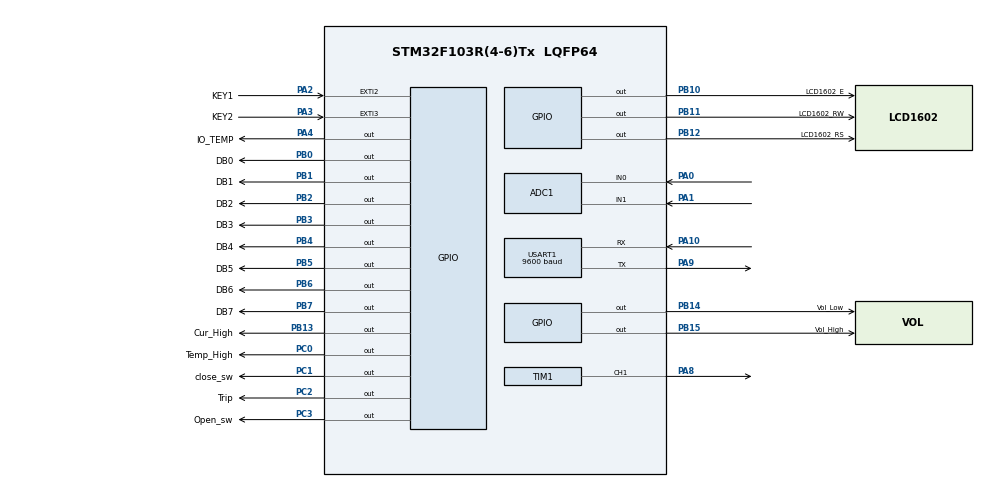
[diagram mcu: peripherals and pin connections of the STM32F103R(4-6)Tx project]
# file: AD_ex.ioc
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ADC1.Channel-4\#ChannelRegularConversion=ADC_CHANNEL_0
ADC1.Channel-5\#ChannelRegularConversion=ADC_CHANNEL_1
ADC1.ContinuousConvMode=DISABLE
ADC1.DataAlign=ADC_DATAALIGN_RIGHT
ADC1.DiscontinuousConvMode=ENABLE
ADC1.EnableAnalogWatchDog=false
ADC1.EnableRegularConversion=ENABLE
ADC1.ExternalTrigConv=ADC_SOFTWARE_START
ADC1.InjNumberOfConversion=0
ADC1.NbrOfConversion=2
ADC1.NbrOfConversionFlag=1
ADC1.NbrOfDiscConversion=1
ADC1.Rank-4\#ChannelRegularConversion=1
ADC1.Rank-5\#ChannelRegularConversion=2
ADC1.SamplingTime-4\#ChannelRegularConversion=ADC_SAMPLETIME_1CYCLE_5
ADC1.SamplingTime-5\#ChannelRegularConversion=ADC_SAMPLETIME_1CYCLE_5
ADC1.ScanConvMode=ADC_SCAN_ENABLE
ADC1.master=1
Mcu.Family=STM32F1
Mcu.Name=STM32F103R(4-6)Tx
Mcu.Package=LQFP64
NVIC.EXTI2_IRQn=true\:0\:0\:false\:false\:true
NVIC.EXTI3_IRQn=true\:0\:0\:false\:false\:true
NVIC.PriorityGroup=NVIC_PRIORITYGROUP_4
PA0-WKUP.Signal=ADCx_IN0
PA1.Signal=ADCx_IN1
PA10.Mode=Asynchronous
PA10.Signal=USART1_RX
PA2.GPIO_Label=KEY1
PA2.Signal=GPXTI2
PA3.GPIO_Label=KEY2
PA3.Signal=GPXTI3
PA4.GPIO_Label=IO_TEMP
PA4.GPIO_ModeDefaultOutputPP=GPIO_MODE_OUTPUT_PP
PA4.Signal=GPIO_Output
PA8.Signal=S_TIM1_CH1
PA9.Mode=Asynchronous
PA9.Signal=USART1_TX
PB0.GPIO_Label=DB0
PB0.GPIO_ModeDefaultOutputPP=GPIO_MODE_OUTPUT_OD
PB0.Signal=GPIO_Output
PB1.GPIO_Label=DB1
PB1.GPIO_ModeDefaultOutputPP=GPIO_MODE_OUTPUT_OD
PB1.Signal=GPIO_Output
PB10.GPIO_Label=LCD1602_E
PB10.Signal=GPIO_Output
PB11.GPIO_Label=LCD1602_RW
PB11.Signal=GPIO_Output
PB12.GPIO_Label=LCD1602_RS
PB12.Signal=GPIO_Output
PB13.GPIO_Label=Cur_High
PB13.GPIO_Speed=GPIO_SPEED_FREQ_HIGH
PB13.PinState=GPIO_PIN_SET
PB13.Signal=GPIO_Output
PB14.GPIO_Label=Vol_Low
PB14.GPIO_Speed=GPIO_SPEED_FREQ_HIGH
PB14.PinState=GPIO_PIN_SET
PB14.Signal=GPIO_Output
PB15.GPIO_Label=Vol_High
PB15.GPIO_Speed=GPIO_SPEED_FREQ_HIGH
PB15.PinState=GPIO_PIN_SET
PB15.Signal=GPIO_Output
PB2.GPIO_Label=DB2
PB2.GPIO_ModeDefaultOutputPP=GPIO_MODE_OUTPUT_OD
PB2.Signal=GPIO_Output
PB3.GPIO_Label=DB3
PB3.GPIO_ModeDefaultOutputPP=GPIO_MODE_OUTPUT_OD
PB3.Signal=GPIO_Output
PB4.GPIO_Label=DB4
PB4.GPIO_ModeDefaultOutputPP=GPIO_MODE_OUTPUT_OD
PB4.Signal=GPIO_Output
PB5.GPIO_Label=DB5
PB5.GPIO_ModeDefaultOutputPP=GPIO_MODE_OUTPUT_OD
PB5.Signal=GPIO_Output
PB6.GPIO_Label=DB6
PB6.GPIO_ModeDefaultOutputPP=GPIO_MODE_OUTPUT_OD
PB6.Signal=GPIO_Output
PB7.GPIO_Label=DB7
PB7.GPIO_ModeDefaultOutputPP=GPIO_MODE_OUTPUT_OD
PB7.Signal=GPIO_Output
PC0.GPIO_Label=Temp_High
PC0.GPIO_Speed=GPIO_SPEED_FREQ_HIGH
PC0.PinState=GPIO_PIN_SET
PC0.Signal=GPIO_Output
PC1.GPIO_Label=close_sw
PC1.GPIO_Speed=GPIO_SPEED_FREQ_HIGH
PC1.PinState=GPIO_PIN_SET
PC1.Signal=GPIO_Output
PC2.GPIO_Label=Trip
PC2.GPIO_Speed=GPIO_SPEED_FREQ_HIGH
PC2.PinState=GPIO_PIN_SET
PC2.Signal=GPIO_Output
PC3.GPIO_Label=Open_sw
PC3.GPIO_Speed=GPIO_SPEED_FREQ_HIGH
PC3.PinState=GPIO_PIN_SET
PC3.Signal=GPIO_Output
ProjectManager.HeapSize=0x200
ProjectManager.StackSize=0x400
ProjectManager.TargetToolchain=MDK-ARM V5
RCC.APB1Freq_Value=8000000
RCC.APB2Freq_Value=8000000
SH.ADCx_IN0.0=ADC1_IN0,IN0
SH.ADCx_IN1.0=ADC1_IN1,IN1
SH.S_TIM1_CH1.0=TIM1_CH1,PWM Generation1 CH1
TIM1.Period=999
TIM1.Prescaler=7
USART1.BaudRate=9600
VP_SYS_VS_ND.Mode=No_Debug
VP_TIM1_VS_ClockSourceINT.Mode=Internal
board=AD_ex

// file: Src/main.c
/**
  ******************************************************************************
  * File Name          : main.c
  * Description        : Main program body
  ******************************************************************************
  *
  * COPYRIGHT(c) 2021 STMicroelectronics
  *
  * Redistribution and use in source and binary forms, with or without modification,
  * are permitted provided that the following conditions are met:
  *   1. Redistributions of source code must retain the above copyright notice,
  *      this list of conditions and the following disclaimer.
  *   2. Redistributions in binary form must reproduce the above copyright notice,
  *      this list of conditions and the following disclaimer in the documentation
  *      and/or other materials provided with the distribution.
  *   3. Neither the name of STMicroelectronics nor the names of its contributors
  *      may be used to endorse or promote products derived from this software
  *      without specific prior written permission.
  *
  * THIS SOFTWARE IS PROVIDED BY THE COPYRIGHT HOLDERS AND CONTRIBUTORS "AS IS"
  * AND ANY EXPRESS OR IMPLIED WARRANTIES, INCLUDING, BUT NOT LIMITED TO, THE
  * IMPLIED WARRANTIES OF MERCHANTABILITY AND FITNESS FOR A PARTICULAR PURPOSE ARE
  * DISCLAIMED. IN NO EVENT SHALL THE COPYRIGHT HOLDER OR CONTRIBUTORS BE LIABLE
  * FOR ANY DIRECT, INDIRECT, INCIDENTAL, SPECIAL, EXEMPLARY, OR CONSEQUENTIAL
  * DAMAGES (INCLUDING, BUT NOT LIMITED TO, PROCUREMENT OF SUBSTITUTE GOODS OR
  * SERVICES; LOSS OF USE, DATA, OR PROFITS; OR BUSINESS INTERRUPTION) HOWEVER
  * CAUSED AND ON ANY THEORY OF LIABILITY, WHETHER IN CONTRACT, STRICT LIABILITY,
  * OR TORT (INCLUDING NEGLIGENCE OR OTHERWISE) ARISING IN ANY WAY OUT OF THE USE
  * OF THIS SOFTWARE, EVEN IF ADVISED OF THE POSSIBILITY OF SUCH DAMAGE.
  *
  ******************************************************************************
  */
#include "main.h"
#include "stm32f1xx_hal.h"

/* USER CODE BEGIN Includes */
#include "bsp-lcd1602.h"
#include "ds18b20.h"
#include "delay.h"

/* USER CODE END Includes */

ADC_HandleTypeDef hadc1;

TIM_HandleTypeDef htim1;

UART_HandleTypeDef huart1;

/* USER CODE BEGIN PV */
/* Private variables ---------------------------------------------------------*/
//上下限值修改
#define Temp_High 700  //温度上限，已经乘10，实际70度
#define Temp_Low 500  //温度下限，已经乘10，实际50度

#define Vol_High 200  //电压上限值，2.0V
#define Vol_Low  180  //电压下限值，1.8V

#define Current_High 200 //电流上限值，2.0A
#define Current_Low  180  //电流上限值，1.8A

/* USER CODE END PV */

void SystemClock_Config(void);
void Error_Handler(void);
static void MX_GPIO_Init(void);
static void MX_ADC1_Init(void);
static void MX_USART1_UART_Init(void);
static void MX_TIM1_Init(void);

void HAL_TIM_MspPostInit(TIM_HandleTypeDef *htim);

/* USER CODE BEGIN PFP */
/* Private function prototypes -----------------------------------------------*/
int fputc(int ch, FILE *f)
{
  HAL_UART_Transmit(&huart1, (uint8_t *)&ch, 1, 0xFFFF);
  return ch;
}

#define KEY1      HAL_GPIO_ReadPin(KEY1_GPIO_Port,  KEY1_Pin)
#define KEY2      HAL_GPIO_ReadPin(KEY2_GPIO_Port,  KEY2_Pin)

#define KEY1_PRESS   1
#define KEY2_PRESS   2

//按键扫描函数
u8 key_scan(u8 mode)
{
	  static u8 key_up=0;
			if(key_up) mode=1;

		if(mode && (KEY1==0|| KEY2==0))
		{
			mode=0;
			HAL_Delay(10);
			if(KEY1==0)  return KEY1_PRESS;
			else if(KEY2==0)  return KEY2_PRESS;
		}else if(KEY1==1 && KEY2==1) return key_up=1;
		return 0;// 无按键按下
}

uint16_t ADC_Value[3]={0};
//单路ad转换的函数
uint16_t dong_get_adc()
{
    //开启ADC1
    HAL_ADC_Start(&hadc1);
    //等待ADC转换完成，超时为100ms
    HAL_ADC_PollForConversion(&hadc1,100);
    //判断ADC是否转换成功
    if(HAL_IS_BIT_SET(HAL_ADC_GetState(&hadc1),HAL_ADC_STATE_REG_EOC)){
         //读取值
       return HAL_ADC_GetValue(&hadc1);
    }
    return 0;
}
u16 current_temp=0;
//此函数在LCD1602上显示温度数据  x_start（0-15），y_start（0-1） LCD1602上的坐标
void display_temperature(u8 x_start,u8 y_start)
{
		static u8 flag=1;

	  LCD1602_ShowStr(x_start,y_start,"Temp:",5);
	  current_temp=DS18B20_Get_Temp();//获取温度值
    if(current_temp!=850 && current_temp!=0 )
		{
			 if(flag)
			 {
				 flag=0;
				LCD1602_WriteCmd(0x01);
			 }
			 LCD1602_ShowNum(x_start+5,y_start, current_temp/100);
			 LCD1602_ShowNum(x_start+6,y_start, current_temp%100/10);
			 LCD1602_ShowChar(x_start+7,y_start,'.');
			 LCD1602_ShowNum(x_start+8,y_start, current_temp%100%10);
			 LCD1602_ShowChar(x_start+9,y_start,0xdf);
			 LCD1602_ShowChar(x_start+10,y_start,'C');

			 printf("Temp:%d\r\n",current_temp/10);//串口输出温度

			  if(current_temp>=Temp_High)//温度高温
				{
					HAL_GPIO_WritePin(Temp_High_GPIO_Port, Temp_High_Pin, GPIO_PIN_RESET);//高温指示灯亮、跳闸灯亮
					LCD1602_ShowStr(x_start+5,y_start,"High   ", 5);
				}
				if(current_temp<Temp_High  && current_temp>=Temp_Low)//温度高、跳闸信号灯灭
		    {
				  HAL_GPIO_WritePin(Temp_High_GPIO_Port, Temp_High_Pin, GPIO_PIN_RESET);//高温指示灯亮、跳闸灯灭
					LCD1602_ShowStr(x_start+5,y_start,"Low   ", 5);
				}
				 if(current_temp<Temp_Low )
				 {
					HAL_GPIO_WritePin(Temp_High_GPIO_Port, Temp_High_Pin, GPIO_PIN_SET);//高温指示灯灭
				 }
		}
		else
		{
			flag=1;
			LCD1602_ShowStr(0,0,"Reading DS18B20", 15);
			LCD1602_ShowStr(0,1,"Please Wait", 11);
		}
}
//在LCD1602上显示AD采样值
void display_sensor_data(u8 x_start,u16 vol1,u16 vol2)
{
     	 LCD1602_ShowStr(x_start,0,"Vol:", 4);
	     LCD1602_ShowNum(x_start+4,0, vol1/100);
	     LCD1602_ShowChar(x_start+5,0,'.');
			 LCD1602_ShowNum(x_start+6,0, vol1%100/10);
			 LCD1602_ShowNum(x_start+7,0, vol1%100%10);
		   LCD1602_ShowChar(x_start+8,0,'V');

			 LCD1602_ShowStr(x_start,1,"Cur:", 4);
	     LCD1602_ShowNum(x_start+4,1, vol2/100);
			 LCD1602_ShowChar(x_start+5,1,'.');
			 LCD1602_ShowNum(x_start+6,1, vol2%100/10);
			 LCD1602_ShowNum(x_start+7,1, vol2%100%10);
			 LCD1602_ShowChar(x_start+8,1,'A');
}

/* USER CODE END PFP */

/* USER CODE BEGIN 0 */

	u8 error_flag=0;//故障标志位，有故障时此标志位为1
/* USER CODE END 0 */

int main(void)
{

  /* USER CODE BEGIN 1 */
	  u8 i=0;
	float voltage=0.0,current=0.0;
	  unsigned int value[2]={0};
		u16 cnt=0;

  /* USER CODE END 1 */

  /* MCU Configuration----------------------------------------------------------*/

  /* Reset of all peripherals, Initializes the Flash interface and the Systick. */
  HAL_Init();

  /* Configure the system clock */
  SystemClock_Config();

  /* Initialize all configured peripherals */
  MX_GPIO_Init();
  MX_ADC1_Init();
  MX_USART1_UART_Init();
  MX_TIM1_Init();

  /* USER CODE BEGIN 2 */
    LCD1602_Init();
		DS18B20_Init();//DS18B20初始化
    HAL_Delay(10);  //延时一段时间

    LCD1602_ShowStr(0,0,"AC contactor",12);
    LCD1602_ShowStr(0,1,"Control system",16);

    HAL_Delay(1000);//延时1S

    LCD1602_WriteCmd( 0x01);//清屏

  /* USER CODE END 2 */

  /* Infinite loop */
  while (1)
  {

  /* USER CODE BEGIN 3 */

					for(i=0;i<2;i++){
							//分别存放通道1~2的ADC值
							value[i]=dong_get_adc();
					}
					voltage=0.08*value[0];//电压
					current=0.08*value[1];//电流
				  display_sensor_data(0,voltage,current);//在LCD1602上显示，获取的两个AD采样的值电压，电流

					if(voltage>=Vol_High)
				  {
            //过压
						HAL_GPIO_WritePin(Vol_High_GPIO_Port, Vol_High_Pin, GPIO_PIN_RESET);//电压过压指示灯亮
						HAL_GPIO_WritePin(Vol_Low_GPIO_Port, Vol_Low_Pin, GPIO_PIN_SET);//电压欠压指示灯灭

						 LCD1602_ShowStr(10,0,"VHigh", 5);
					}
					if(voltage<=Vol_Low)
					{
						//欠压
						HAL_GPIO_WritePin(Vol_Low_GPIO_Port, Vol_Low_Pin, GPIO_PIN_RESET);//电压欠压指示灯亮
						HAL_GPIO_WritePin(Vol_High_GPIO_Port, Vol_High_Pin, GPIO_PIN_SET);//电压过压指示灯灭

					 LCD1602_ShowStr(10,0,"VLow ", 5);
					}
					if(voltage<Vol_High &&voltage>Vol_Low)
					{
						//电压正常
						HAL_GPIO_WritePin(Vol_Low_GPIO_Port, Vol_Low_Pin, GPIO_PIN_SET);//电压欠压指示灯灭    正常
						HAL_GPIO_WritePin(Vol_High_GPIO_Port, Vol_High_Pin, GPIO_PIN_SET);//电压过压指示灯灭  正常
						LCD1602_ShowStr(10,0,"     ", 5);
					}

			    if(current<Current_High )//电流正常
					{
						HAL_GPIO_WritePin(Cur_High_GPIO_Port, Cur_High_Pin, GPIO_PIN_SET);//电流过流指示灯灭 正常
					}

		   		if(current>=Current_High)
				  {
						//过流
						HAL_GPIO_WritePin(Cur_High_GPIO_Port, Cur_High_Pin, GPIO_PIN_RESET);//电流过流指示灯亮

						LCD1602_ShowStr(10,0,"CHigh", 5);
					}
			    //电路异常
					if(voltage>=Vol_High || voltage<=Vol_Low || current>=Current_High || current_temp>=Temp_High  )
					{
							cnt++;
						error_flag=1;//故障标志位为1
						printf("CNT=%d\r\n",cnt);
					if(cnt>=10)//故障出现之后，等待2秒
						{
							//HAL_Delay(10);//200*10=2000ms
							cnt=0;
						 	HAL_GPIO_WritePin(Trip_GPIO_Port, Trip_Pin, GPIO_PIN_RESET);//跳闸指示灯亮
						  HAL_GPIO_WritePin(close_sw_GPIO_Port, close_sw_Pin, GPIO_PIN_SET);//合闸指示灯灭
					 	  HAL_GPIO_WritePin(Open_sw_GPIO_Port, Open_sw_Pin, GPIO_PIN_RESET);//分闸指示灯亮
							HAL_TIM_PWM_Stop(&htim1,  TIM_CHANNEL_1);//停止PWM波形
						}
					}else
					{
							error_flag=0;//故障标志位为0
				  	HAL_GPIO_WritePin(Trip_GPIO_Port, Trip_Pin, GPIO_PIN_SET);//跳闸指示灯灭
					}
					printf("vol:%d,cur:%d\r\n",(u16)voltage,(u16)current);
					display_temperature(9,1);//获取温度值并在LCD1602上显示，当前温度值与阈值进行比较并报警
					printf("============\r\n");
    }
  /* USER CODE END 3 */

}

/** System Clock Configuration
*/
void SystemClock_Config(void)
{

  RCC_OscInitTypeDef RCC_OscInitStruct;
  RCC_ClkInitTypeDef RCC_ClkInitStruct;
  RCC_PeriphCLKInitTypeDef PeriphClkInit;

    /**Initializes the CPU, AHB and APB busses clocks
    */
  RCC_OscInitStruct.OscillatorType = RCC_OSCILLATORTYPE_HSI;
  RCC_OscInitStruct.HSIState = RCC_HSI_ON;
  RCC_OscInitStruct.HSICalibrationValue = 16;
  RCC_OscInitStruct.PLL.PLLState = RCC_PLL_NONE;
  if (HAL_RCC_OscConfig(&RCC_OscInitStruct) != HAL_OK)
  {
    Error_Handler();
  }

    /**Initializes the CPU, AHB and APB busses clocks
    */
  RCC_ClkInitStruct.ClockType = RCC_CLOCKTYPE_HCLK|RCC_CLOCKTYPE_SYSCLK
                              |RCC_CLOCKTYPE_PCLK1|RCC_CLOCKTYPE_PCLK2;
  RCC_ClkInitStruct.SYSCLKSource = RCC_SYSCLKSOURCE_HSI;
  RCC_ClkInitStruct.AHBCLKDivider = RCC_SYSCLK_DIV1;
  RCC_ClkInitStruct.APB1CLKDivider = RCC_HCLK_DIV1;
  RCC_ClkInitStruct.APB2CLKDivider = RCC_HCLK_DIV1;

  if (HAL_RCC_ClockConfig(&RCC_ClkInitStruct, FLASH_LATENCY_0) != HAL_OK)
  {
    Error_Handler();
  }

  PeriphClkInit.PeriphClockSelection = RCC_PERIPHCLK_ADC;
  PeriphClkInit.AdcClockSelection = RCC_ADCPCLK2_DIV2;
  if (HAL_RCCEx_PeriphCLKConfig(&PeriphClkInit) != HAL_OK)
  {
    Error_Handler();
  }

    /**Configure the Systick interrupt time
    */
  HAL_SYSTICK_Config(HAL_RCC_GetHCLKFreq()/1000);

    /**Configure the Systick
    */
  HAL_SYSTICK_CLKSourceConfig(SYSTICK_CLKSOURCE_HCLK);

  /* SysTick_IRQn interrupt configuration */
  HAL_NVIC_SetPriority(SysTick_IRQn, 0, 0);
}

/* ADC1 init function */
static void MX_ADC1_Init(void)
{

  ADC_ChannelConfTypeDef sConfig;

    /**Common config
    */
  hadc1.Instance = ADC1;
  hadc1.Init.ScanConvMode = ADC_SCAN_ENABLE;
  hadc1.Init.ContinuousConvMode = DISABLE;
  hadc1.Init.DiscontinuousConvMode = ENABLE;
  hadc1.Init.NbrOfDiscConversion = 1;
  hadc1.Init.ExternalTrigConv = ADC_SOFTWARE_START;
  hadc1.Init.DataAlign = ADC_DATAALIGN_RIGHT;
  hadc1.Init.NbrOfConversion = 2;
  if (HAL_ADC_Init(&hadc1) != HAL_OK)
  {
    Error_Handler();
  }

    /**Configure Regular Channel
    */
  sConfig.Channel = ADC_CHANNEL_0;
  sConfig.Rank = 1;
  sConfig.SamplingTime = ADC_SAMPLETIME_1CYCLE_5;
  if (HAL_ADC_ConfigChannel(&hadc1, &sConfig) != HAL_OK)
  {
    Error_Handler();
  }

    /**Configure Regular Channel
    */
  sConfig.Channel = ADC_CHANNEL_1;
  sConfig.Rank = 2;
  if (HAL_ADC_ConfigChannel(&hadc1, &sConfig) != HAL_OK)
  {
    Error_Handler();
  }

}

/* TIM1 init function */
static void MX_TIM1_Init(void)
{

  TIM_ClockConfigTypeDef sClockSourceConfig;
  TIM_MasterConfigTypeDef sMasterConfig;
  TIM_OC_InitTypeDef sConfigOC;
  TIM_BreakDeadTimeConfigTypeDef sBreakDeadTimeConfig;

  htim1.Instance = TIM1;
  htim1.Init.Prescaler = 7;
  htim1.Init.CounterMode = TIM_COUNTERMODE_UP;
  htim1.Init.Period = 999;
  htim1.Init.ClockDivision = TIM_CLOCKDIVISION_DIV1;
  htim1.Init.RepetitionCounter = 0;
  if (HAL_TIM_Base_Init(&htim1) != HAL_OK)
  {
    Error_Handler();
  }

  sClockSourceConfig.ClockSource = TIM_CLOCKSOURCE_INTERNAL;
  if (HAL_TIM_ConfigClockSource(&htim1, &sClockSourceConfig) != HAL_OK)
  {
    Error_Handler();
  }

  if (HAL_TIM_PWM_Init(&htim1) != HAL_OK)
  {
    Error_Handler();
  }

  sMasterConfig.MasterOutputTrigger = TIM_TRGO_RESET;
  sMasterConfig.MasterSlaveMode = TIM_MASTERSLAVEMODE_DISABLE;
  if (HAL_TIMEx_MasterConfigSynchronization(&htim1, &sMasterConfig) != HAL_OK)
  {
    Error_Handler();
  }

  sConfigOC.OCMode = TIM_OCMODE_PWM1;
  sConfigOC.Pulse = 0;
  sConfigOC.OCPolarity = TIM_OCPOLARITY_HIGH;
  sConfigOC.OCNPolarity = TIM_OCNPOLARITY_HIGH;
  sConfigOC.OCFastMode = TIM_OCFAST_DISABLE;
  sConfigOC.OCIdleState = TIM_OCIDLESTATE_RESET;
  sConfigOC.OCNIdleState = TIM_OCNIDLESTATE_RESET;
  if (HAL_TIM_PWM_ConfigChannel(&htim1, &sConfigOC, TIM_CHANNEL_1) != HAL_OK)
  {
    Error_Handler();
  }

  sBreakDeadTimeConfig.OffStateRunMode = TIM_OSSR_DISABLE;
  sBreakDeadTimeConfig.OffStateIDLEMode = TIM_OSSI_DISABLE;
  sBreakDeadTimeConfig.LockLevel = TIM_LOCKLEVEL_OFF;
  sBreakDeadTimeConfig.DeadTime = 0;
  sBreakDeadTimeConfig.BreakState = TIM_BREAK_DISABLE;
  sBreakDeadTimeConfig.BreakPolarity = TIM_BREAKPOLARITY_HIGH;
  sBreakDeadTimeConfig.AutomaticOutput = TIM_AUTOMATICOUTPUT_DISABLE;
  if (HAL_TIMEx_ConfigBreakDeadTime(&htim1, &sBreakDeadTimeConfig) != HAL_OK)
  {
    Error_Handler();
  }

  HAL_TIM_MspPostInit(&htim1);

}

/* USART1 init function */
static void MX_USART1_UART_Init(void)
{

  huart1.Instance = USART1;
  huart1.Init.BaudRate = 9600;
  huart1.Init.WordLength = UART_WORDLENGTH_8B;
  huart1.Init.StopBits = UART_STOPBITS_1;
  huart1.Init.Parity = UART_PARITY_NONE;
  huart1.Init.Mode = UART_MODE_TX_RX;
  huart1.Init.HwFlowCtl = UART_HWCONTROL_NONE;
  huart1.Init.OverSampling = UART_OVERSAMPLING_16;
  if (HAL_UART_Init(&huart1) != HAL_OK)
  {
    Error_Handler();
  }

}

/** Configure pins as
        * Analog
        * Input
        * Output
        * EVENT_OUT
        * EXTI
*/
static void MX_GPIO_Init(void)
{

  GPIO_InitTypeDef GPIO_InitStruct;

  /* GPIO Ports Clock Enable */
  __HAL_RCC_GPIOC_CLK_ENABLE();
  __HAL_RCC_GPIOA_CLK_ENABLE();
  __HAL_RCC_GPIOB_CLK_ENABLE();

  /*Configure GPIO pin Output Level */
  HAL_GPIO_WritePin(GPIOC, Temp_High_Pin|close_sw_Pin|Trip_Pin|Open_sw_Pin, GPIO_PIN_SET);

  /*Configure GPIO pin Output Level */
  HAL_GPIO_WritePin(IO_TEMP_GPIO_Port, IO_TEMP_Pin, GPIO_PIN_RESET);

  /*Configure GPIO pin Output Level */
  HAL_GPIO_WritePin(GPIOB, DB0_Pin|DB1_Pin|DB2_Pin|LCD1602_E_Pin
                          |LCD1602_RW_Pin|LCD1602_RS_Pin|DB3_Pin|DB4_Pin
                          |DB5_Pin|DB6_Pin|DB7_Pin, GPIO_PIN_RESET);

  /*Configure GPIO pin Output Level */
  HAL_GPIO_WritePin(GPIOB, Cur_High_Pin|Vol_Low_Pin|Vol_High_Pin, GPIO_PIN_SET);

  /*Configure GPIO pins : Temp_High_Pin close_sw_Pin Trip_Pin Open_sw_Pin */
  GPIO_InitStruct.Pin = Temp_High_Pin|close_sw_Pin|Trip_Pin|Open_sw_Pin;
  GPIO_InitStruct.Mode = GPIO_MODE_OUTPUT_PP;
  GPIO_InitStruct.Speed = GPIO_SPEED_FREQ_HIGH;
  HAL_GPIO_Init(GPIOC, &GPIO_InitStruct);

  /*Configure GPIO pins : KEY1_Pin KEY2_Pin */
  GPIO_InitStruct.Pin = KEY1_Pin|KEY2_Pin;
  GPIO_InitStruct.Mode = GPIO_MODE_IT_RISING;
  GPIO_InitStruct.Pull = GPIO_NOPULL;
  HAL_GPIO_Init(GPIOA, &GPIO_InitStruct);

  /*Configure GPIO pin : IO_TEMP_Pin */
  GPIO_InitStruct.Pin = IO_TEMP_Pin;
  GPIO_InitStruct.Mode = GPIO_MODE_OUTPUT_PP;
  GPIO_InitStruct.Speed = GPIO_SPEED_FREQ_LOW;
  HAL_GPIO_Init(IO_TEMP_GPIO_Port, &GPIO_InitStruct);

  /*Configure GPIO pins : DB0_Pin DB1_Pin DB2_Pin DB3_Pin
                           DB4_Pin DB5_Pin DB6_Pin DB7_Pin */
  GPIO_InitStruct.Pin = DB0_Pin|DB1_Pin|DB2_Pin|DB3_Pin
                          |DB4_Pin|DB5_Pin|DB6_Pin|DB7_Pin;
  GPIO_InitStruct.Mode = GPIO_MODE_OUTPUT_OD;
  GPIO_InitStruct.Speed = GPIO_SPEED_FREQ_LOW;
  HAL_GPIO_Init(GPIOB, &GPIO_InitStruct);

  /*Configure GPIO pins : LCD1602_E_Pin LCD1602_RW_Pin LCD1602_RS_Pin */
  GPIO_InitStruct.Pin = LCD1602_E_Pin|LCD1602_RW_Pin|LCD1602_RS_Pin;
  GPIO_InitStruct.Mode = GPIO_MODE_OUTPUT_PP;
  GPIO_InitStruct.Speed = GPIO_SPEED_FREQ_LOW;
  HAL_GPIO_Init(GPIOB, &GPIO_InitStruct);

  /*Configure GPIO pins : Cur_High_Pin Vol_Low_Pin Vol_High_Pin */
  GPIO_InitStruct.Pin = Cur_High_Pin|Vol_Low_Pin|Vol_High_Pin;
  GPIO_InitStruct.Mode = GPIO_MODE_OUTPUT_PP;
  GPIO_InitStruct.Speed = GPIO_SPEED_FREQ_HIGH;
  HAL_GPIO_Init(GPIOB, &GPIO_InitStruct);

  /* EXTI interrupt init*/
  HAL_NVIC_SetPriority(EXTI2_IRQn, 0, 0);
  HAL_NVIC_EnableIRQ(EXTI2_IRQn);

  HAL_NVIC_SetPriority(EXTI3_IRQn, 0, 0);
  HAL_NVIC_EnableIRQ(EXTI3_IRQn);

}

/* USER CODE BEGIN 4 */
void HAL_GPIO_EXTI_Callback(uint16_t GPIO_Pin)
{

     if(GPIO_Pin==GPIO_PIN_2)
		 {
			 if(error_flag==0)//合闸
			 {
				 TIM1->CCR1=500  ;//把Value 写入捕获/比较寄存器  改变此数值  即可改变PWM占空比
				HAL_TIM_PWM_Start(&htim1,TIM_CHANNEL_1);//重新启动PWM

				HAL_GPIO_WritePin(close_sw_GPIO_Port, close_sw_Pin, GPIO_PIN_RESET);//合闸指示灯亮
				HAL_GPIO_WritePin(Open_sw_GPIO_Port, Open_sw_Pin, GPIO_PIN_SET);//分闸指示灯灭
			 }
		  }

		 else if(GPIO_Pin==GPIO_PIN_3)
			{
					printf("B");
					HAL_TIM_PWM_Stop(&htim1,  TIM_CHANNEL_1);//停止PWM波形
					HAL_GPIO_WritePin(close_sw_GPIO_Port, close_sw_Pin, GPIO_PIN_SET);//合闸指示灯灭
					HAL_GPIO_WritePin(Open_sw_GPIO_Port, Open_sw_Pin, GPIO_PIN_RESET);//分闸指示灯亮
			}
}

/* USER CODE END 4 */

void Error_Handler(void)
{
  while(1)
  {
  }
}

/************************ (C) COPYRIGHT STMicroelectronics *****END OF FILE****/
